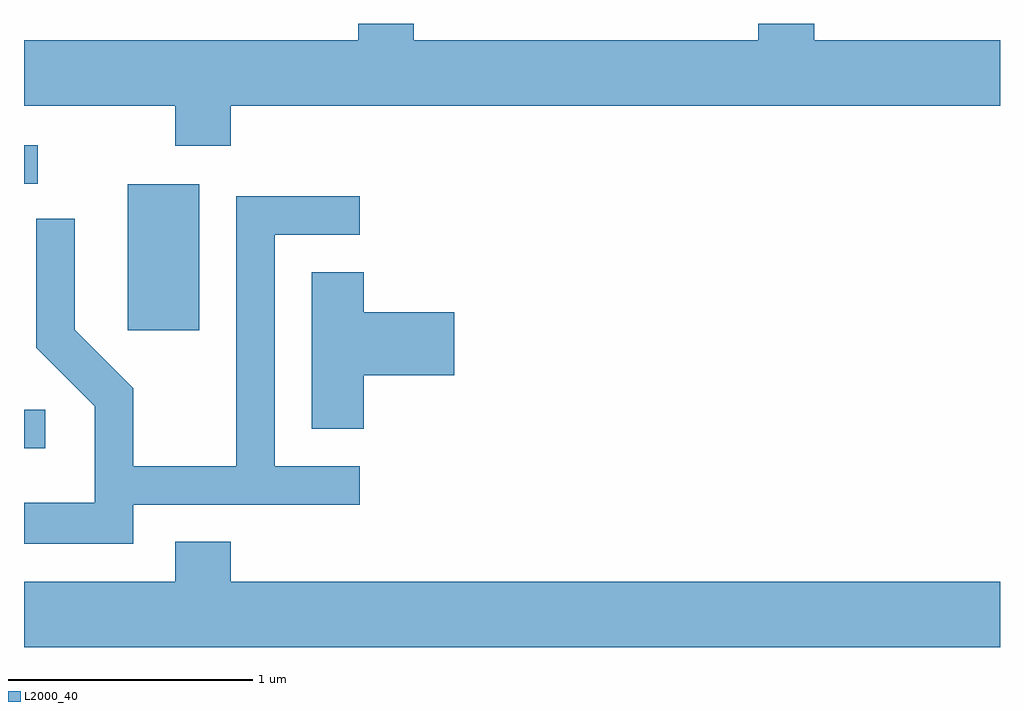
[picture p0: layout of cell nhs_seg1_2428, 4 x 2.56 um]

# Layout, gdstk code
import gdstk
lib = gdstk.Library(unit=1e-6, precision=1e-09)
def R(c, l, rs):  # rectangles x0, y0, x1, y1
    for r in rs: c.add(gdstk.rectangle(r[:2], r[2:], *l))
def P(c, l, *ps):  # polygons
    for p in ps: c.add(gdstk.Polygon(p, *l))
L2000_40 = (2000, 40)

nhs_seg1_2428 = lib.new_cell('nhs_seg1_2428')
R(nhs_seg1_2428, L2000_40, [(259.611,875.971,259.698,876.129), (260.036,876.456,260.329,877.054), (259.611,877.056,259.668,877.214)])
P(nhs_seg1_2428, L2000_40, [(260.459,877.376),(263.611,877.376),(263.611,877.644),(262.849,877.644),(262.849,877.712),(262.621,877.712),(262.621,877.644),(261.209,877.644),(261.209,877.712),(260.981,877.712),(260.981,877.644),(259.611,877.644),(259.611,877.376),(260.231,877.376),(260.231,877.211),(260.459,877.211)],
  [(260.059,875.741),(260.988,875.741),(260.988,875.899),(260.639,875.899),(260.639,876.846),(260.988,876.846),(260.988,877.004),(260.481,877.004),(260.481,875.899),(260.059,875.899),(260.059,876.217),(259.819,876.457),(259.819,876.913),(259.661,876.913),(259.661,876.384),(259.901,876.144),(259.901,875.749),(259.611,875.749),(259.611,875.581),(260.059,875.581)],
  [(261.004,876.271),(261.374,876.271),(261.374,876.529),(261.004,876.529),(261.004,876.694),(260.791,876.694),(260.791,876.051),(261.004,876.051)],
  [(263.611,875.424),(260.459,875.424),(260.459,875.589),(260.231,875.589),(260.231,875.424),(259.611,875.424),(259.611,875.156),(263.611,875.156)])

lib.write_gds('nhs_seg1_2428.gds')
